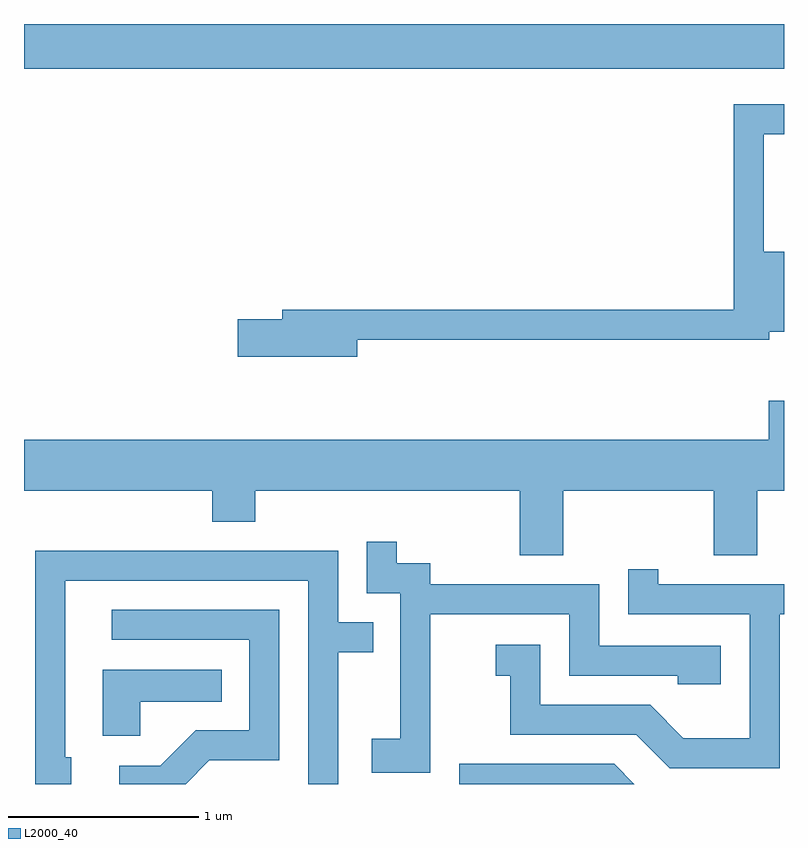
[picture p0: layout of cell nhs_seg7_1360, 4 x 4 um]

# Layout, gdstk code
import gdstk
lib = gdstk.Library(unit=1e-6, precision=1e-09)
def R(c, l, rs):  # rectangles x0, y0, x1, y1
    for r in rs: c.add(gdstk.rectangle(r[:2], r[2:], *l))
def P(c, l, *ps):  # polygons
    for p in ps: c.add(gdstk.Polygon(p, *l))
L2000_40 = (2000, 40)

nhs_seg7_1360 = lib.new_cell('nhs_seg7_1360')
R(nhs_seg7_1360, L2000_40, [(225.611,1792.016,229.611,1792.252)])
P(nhs_seg7_1360, L2000_40, [(227.364,1790.591),(229.534,1790.591),(229.534,1790.631),(229.611,1790.631),(229.611,1791.054),(229.504,1791.054),(229.504,1791.671),(229.611,1791.671),(229.611,1791.829),(229.346,1791.829),(229.346,1790.749),(226.971,1790.749),(226.971,1790.699),(226.736,1790.699),(226.736,1790.501),(227.364,1790.501)],
  [(228.449,1789.796),(229.241,1789.796),(229.241,1789.456),(229.469,1789.456),(229.469,1789.796),(229.611,1789.796),(229.611,1790.269),(229.531,1790.269),(229.531,1790.064),(225.611,1790.064),(225.611,1789.796),(226.601,1789.796),(226.601,1789.631),(226.829,1789.631),(226.829,1789.796),(228.221,1789.796),(228.221,1789.456),(228.449,1789.456)],
  [(227.749,1789.146),(228.481,1789.146),(228.481,1788.821),(229.051,1788.821),(229.051,1788.776),(229.279,1788.776),(229.279,1788.979),(228.639,1788.979),(228.639,1789.304),(227.749,1789.304),(227.749,1789.414),(227.574,1789.414),(227.574,1789.528),(227.416,1789.528),(227.416,1789.256),(227.591,1789.256),(227.591,1788.489),(227.441,1788.489),(227.441,1788.311),(227.749,1788.311)],
  [(225.859,1788.394),(225.829,1788.394),(225.829,1789.321),(227.106,1789.321),(227.106,1788.252),(227.264,1788.252),(227.264,1788.946),(227.448,1788.946),(227.448,1789.104),(227.264,1789.104),(227.264,1789.479),(225.671,1789.479),(225.671,1788.252),(225.859,1788.252)],
  [(229.589,1789.146),(229.611,1789.146),(229.611,1789.304),(228.949,1789.304),(228.949,1789.383),(228.791,1789.383),(228.791,1789.146),(229.431,1789.146),(229.431,1788.494),(229.082,1788.494),(228.907,1788.669),(228.329,1788.669),(228.329,1788.984),(228.093,1788.984),(228.093,1788.821),(228.171,1788.821),(228.171,1788.511),(228.834,1788.511),(229.009,1788.336),(229.589,1788.336)],
  [(226.587,1788.376),(226.954,1788.376),(226.954,1789.169),(226.073,1789.169),(226.073,1789.011),(226.796,1789.011),(226.796,1788.534),(226.514,1788.534),(226.329,1788.349),(226.113,1788.349),(226.113,1788.252),(226.463,1788.252)],
  [(226.224,1788.686),(226.653,1788.686),(226.653,1788.854),(226.026,1788.854),(226.026,1788.506),(226.224,1788.506)],
  [(228.717,1788.359),(227.901,1788.359),(227.901,1788.252),(228.824,1788.252)])

lib.write_gds('nhs_seg7_1360.gds')
